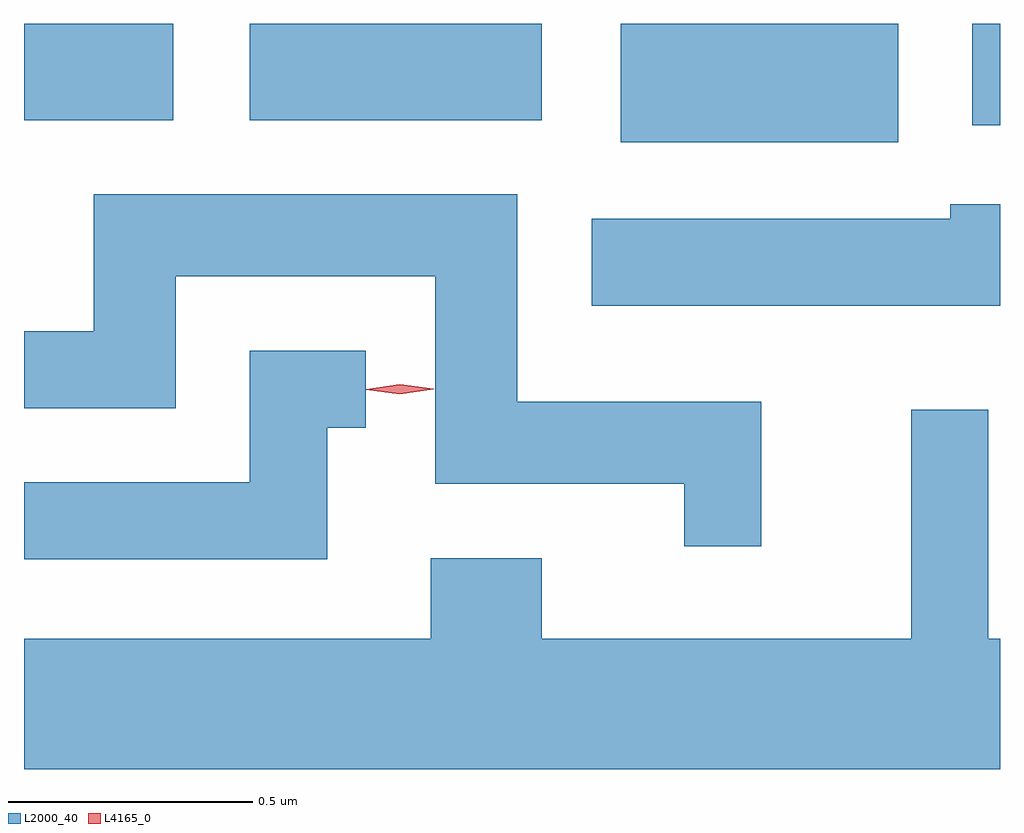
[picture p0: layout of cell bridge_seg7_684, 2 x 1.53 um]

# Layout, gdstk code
import gdstk
lib = gdstk.Library(unit=1e-6, precision=1e-09)
def R(c, l, rs):  # rectangles x0, y0, x1, y1
    for r in rs: c.add(gdstk.rectangle(r[:2], r[2:], *l))
def P(c, l, *ps):  # polygons
    for p in ps: c.add(gdstk.Polygon(p, *l))
L2000_40 = (2000, 40)
L4165_0 = (4165, 0)

bridge_seg7_684 = lib.new_cell('bridge_seg7_684')
R(bridge_seg7_684, L2000_40, [(926.841,1737.801,927.409,1738.044), (927.561,1737.836,927.618,1738.044), (925.618,1737.846,925.924,1738.044), (926.081,1737.846,926.679,1738.044)])
P(bridge_seg7_684, L2000_40, [(927.129,1737.269),(926.629,1737.269),(926.629,1737.694),(925.761,1737.694),(925.761,1737.414),(925.618,1737.414),(925.618,1737.256),(925.929,1737.256),(925.929,1737.526),(926.461,1737.526),(926.461,1737.101),(926.971,1737.101),(926.971,1736.973),(927.129,1736.973)],
  [(927.618,1737.674),(927.516,1737.674),(927.516,1737.644),(926.781,1737.644),(926.781,1737.466),(927.618,1737.466)],
  [(926.239,1737.216),(926.318,1737.216),(926.318,1737.374),(926.081,1737.374),(926.081,1737.104),(925.618,1737.104),(925.618,1736.946),(926.239,1736.946)],
  [(927.618,1736.784),(927.594,1736.784),(927.594,1737.253),(927.436,1737.253),(927.436,1736.784),(926.679,1736.784),(926.679,1736.949),(926.451,1736.949),(926.451,1736.784),(925.618,1736.784),(925.618,1736.516),(927.618,1736.516)])
P(bridge_seg7_684, L4165_0, [(926.388,1737.285),(926.319,1737.294),(926.319,1737.295),(926.319,1737.295),(926.388,1737.305),(926.458,1737.296),(926.458,1737.296),(926.458,1737.295)])

lib.write_gds('bridge_seg7_684.gds')
